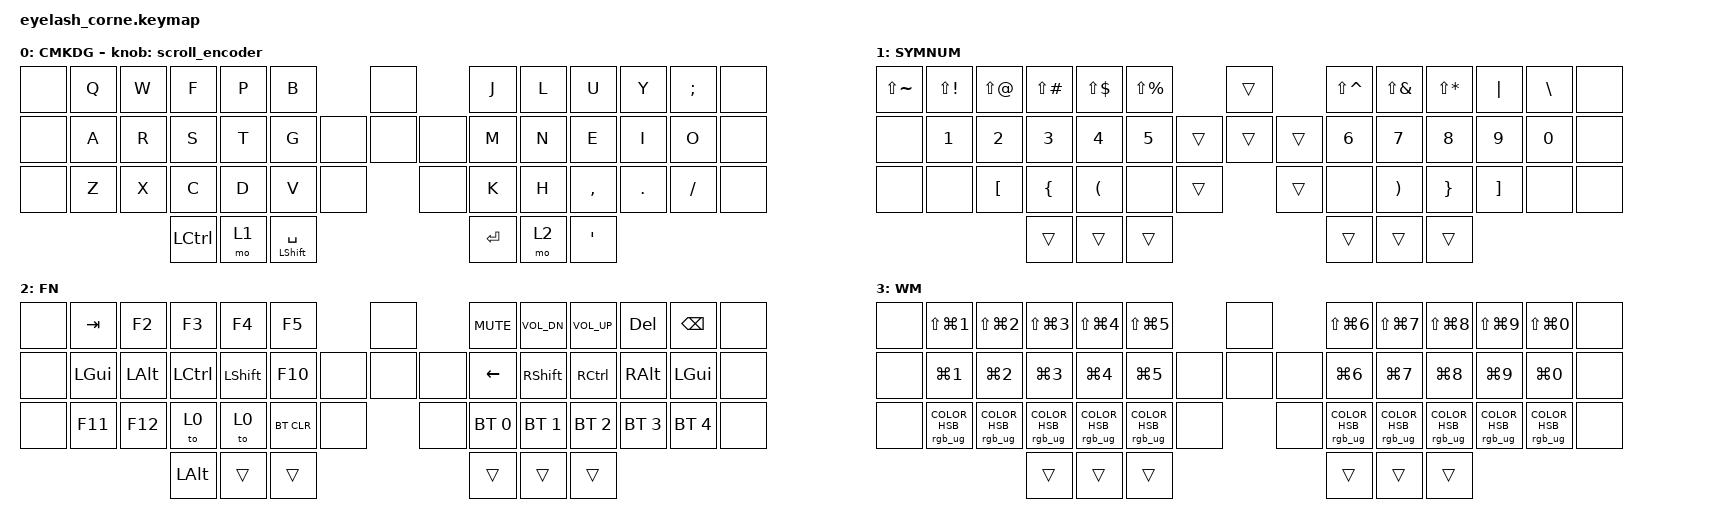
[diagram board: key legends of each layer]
#define ZMK_POINTING_DEFAULT_MOVE_VAL 1200  // 600
#define ZMK_POINTING_DEFAULT_SCRL_VAL 25   // 10

#include <input/processors.dtsi>
#include <zephyr/dt-bindings/input/input-event-codes.h>
#include <behaviors.dtsi>
#include <dt-bindings/zmk/bt.h>
#include <dt-bindings/zmk/keys.h>
#include <dt-bindings/zmk/pointing.h>
#include <dt-bindings/zmk/rgb.h>

&mmv_input_listener { input-processors = <&zip_xy_scaler 2 1>; };

&msc_input_listener { input-processors = <&zip_scroll_scaler 2 1>; };

&mmv {
    time-to-max-speed-ms = <500>;
    acceleration-exponent = <1>;
    trigger-period-ms = <16>;
};

&mt {
    tapping-term-ms = <180>;
    quick-tap-ms = <180>;
    require-prior-idle-ms = <150>;
    flavor = "tap-preferred";
    hold-trigger-key-positions = <14 15 16 17 23 24 25 26>;
    hold-trigger-on-release;
};

/ {
    behaviors {
        td0: td0 {
            compatible = "zmk,behavior-tap-dance";
            display-name = "Shift/Caps Lock Tap Dance";
            #binding-cells = <0>;
            bindings = <&kp LEFT_SHIFT>, <&kp CAPS>;
        };

        mouse_click: mouse_click {
            compatible = "zmk,behavior-hold-tap";
            label = "MOUSE_CLICK";
            #binding-cells = <2>;
            tapping-term-ms = <500>;
            flavor = "balanced";
            hold-trigger-key-positions = <20>;
            hold-trigger-on-release;
            bindings = <&mkp>, <&mkp>;
        };

        mod_kp: mod_kp {
            compatible = "zmk,behavior-hold-tap";
            label = "MOD_KP";
            bindings = <&mo>, <&kp>;

            #binding-cells = <2>;
            tapping-term-ms = <130>;
            flavor = "hold-preferred";
            quick-tap-ms = <130>;
            hold-trigger-key-positions = <42 44 45 47 43 46>;
        };

        to_kp: to_kp {
            compatible = "zmk,behavior-hold-tap";
            label = "TO_KP";
            bindings = <&to>, <&kp>;

            #binding-cells = <2>;
            tapping-term-ms = <500>;
            flavor = "tap-preferred";
        };

        hml: home_row_mod_left {
            compatible = "zmk,behavior-hold-tap";
            #binding-cells = <2>;
            flavor = "balanced";
            require-prior-idle-ms = <150>;
            tapping-term-ms = <200>;
            quick-tap-ms = <175>;
            bindings = <&kp>, <&kp>;

            hold-trigger-key-positions = <22 23 24 25 26 7 8 9 10 11 36 37 38 39 40 12 27 41 36 45 46 47>; // List of keys on the right side of the keyboard
            hold-trigger-on-release;
        };

        kpr: home_row_mod_right {
            compatible = "zmk,behavior-hold-tap";
            #binding-cells = <2>;
            flavor = "balanced";
            require-prior-idle-ms = <150>;
            tapping-term-ms = <200>;
            quick-tap-ms = <175>;
            bindings = <&kp>, <&kp>;

            hold-trigger-key-positions = <2 3 4 5 15 16 17 18 30 31 32 33 1 14 29 0 13 28 42 43 44>; // List of keys on the left side of the keyboard
            hold-trigger-on-release;
        };

        mt_pinky: mt_pinky {
            compatible = "zmk,behavior-hold-tap";
            label = "MT_PINKY";
            bindings = <&kp>, <&kp>;

            #binding-cells = <2>;
            tapping-term-ms = <200>;
            quick-tap-ms = <180>;
            require-prior-idle-ms = <150>;
            flavor = "tap-preferred";
            hold-trigger-key-positions = <14 26>;
            hold-trigger-on-release;
        };

        spc_sht: spc_sht {
            compatible = "zmk,behavior-hold-tap";
            label = "SPC_SHT";
            bindings = <&kp>, <&kp>;

            #binding-cells = <2>;
            flavor = "tap-preferred";
            tapping-term-ms = <220>;
        };
    };

    rgb_encoder: rgb_encoder {
        compatible = "zmk,behavior-sensor-rotate";
        #sensor-binding-cells = <0>;
        bindings = <&rgb_ug RGB_BRI>, <&rgb_ug RGB_BRD>;
    };

    scroll_encoder: scroll_encoder {
        compatible = "zmk,behavior-sensor-rotate";
        #sensor-binding-cells = <0>;
        bindings = <&msc SCRL_DOWN>, <&msc SCRL_UP>;

        tap-ms = <100>;
    };

    keymap {
        compatible = "zmk,keymap";

        default_layer {
            display-name = "CMKDG";
            bindings = <
&none  &kp Q  &kp W  &kp F      &kp P  &kp B                                  &none         &kp J      &kp L  &kp U      &kp Y    &kp SEMI   &none
&none  &kp A  &kp R  &kp S      &kp T  &kp G                           &none  &none  &none  &kp M      &kp N  &kp E      &kp I    &kp O      &none
&none  &kp Z  &kp X  &kp C      &kp D  &kp V                  &none           &none         &kp K      &kp H  &kp COMMA  &kp DOT  &kp SLASH  &none
                     &kp LCTRL  &mo 1  &spc_sht LSHIFT SPACE                                &kp ENTER  &mo 2  &kp SQT
            >;

            sensor-bindings = <&scroll_encoder>;
        };

        layer_1 {
            display-name = "SYMNUM";
            bindings = <
&kp LS(TILDE)  &kp LS(EXCL)  &kp LS(AT)    &kp LS(POUND)  &kp LS(DLLR)  &kp LS(PRCNT)                    &trans          &kp LS(CARET)  &kp LS(AMPS)  &kp LS(STAR)  &kp PIPE      &kp BSLH      &none
&none          &kp NUMBER_1  &kp NUMBER_2  &kp NUMBER_3   &kp NUMBER_4  &kp NUMBER_5             &trans  &trans  &trans  &kp NUMBER_6   &kp NUMBER_7  &kp NUMBER_8  &kp NUMBER_9  &kp NUMBER_0  &none
&none          &none         &kp LBKT      &kp LBRC       &kp LPAR      &none          &trans            &trans          &none          &kp RPAR      &kp RBRC      &kp RBKT      &none         &none
                                           &trans         &trans        &trans                                           &trans         &trans        &trans
            >;
        };

        layer_2 {
            display-name = "FN";
            bindings = <
&none  &kp TAB   &kp F2    &kp F3     &kp F4      &kp F5                      &none         &kp C_MUTE    &kp C_VOL_DN  &kp C_VOL_UP  &kp DEL       &kp BSPC      &none
&none  &kp LGUI  &kp LALT  &kp LCTRL  &kp LSHIFT  &kp F10              &none  &none  &none  &kp LEFT      &kp RSHIFT    &kp RCTRL     &kp RALT      &kp LGUI      &none
&none  &kp F11   &kp F12   &to 0      &to 0       &bt BT_CLR  &none           &none         &bt BT_SEL 0  &bt BT_SEL 1  &bt BT_SEL 2  &bt BT_SEL 3  &bt BT_SEL 4  &none
                           &kp LALT   &trans      &trans                                    &trans        &trans        &trans
            >;
        };

        layer_3 {
            display-name = "WM";
            bindings = <
&none  &kp LS(LG(N1))                    &kp LS(LG(N2))                     &kp LS(LG(N3))                     &kp LS(LG(N4))                     &kp LS(LG(N5))                                     &none         &kp LS(LG(N6))                   &kp LS(LG(N7))                   &kp LS(LG(N8))                    &kp LS(LG(N9))                     &kp LS(LG(N0))                     &none
&none  &kp LG(N1)                        &kp LG(N2)                         &kp LG(N3)                         &kp LG(N4)                         &kp LG(N5)                                  &none  &none  &none  &kp LG(N6)                       &kp LG(N7)                       &kp LG(N8)                        &kp LG(N9)                         &kp LG(N0)                         &none
&none  &rgb_ug RGB_COLOR_HSB(15,100,50)  &rgb_ug RGB_COLOR_HSB(145,100,50)  &rgb_ug RGB_COLOR_HSB(301,100,50)  &rgb_ug RGB_COLOR_HSB(280,100,50)  &rgb_ug RGB_COLOR_HSB(238,100,50)  &none           &none         &rgb_ug RGB_COLOR_HSB(0,100,50)  &rgb_ug RGB_COLOR_HSB(35,99,49)  &rgb_ug RGB_COLOR_HSB(65,100,50)  &rgb_ug RGB_COLOR_HSB(136,100,50)  &rgb_ug RGB_COLOR_HSB(170,100,50)  &none
                                                                            &trans                             &trans                             &trans                                                           &trans                           &trans                           &trans
            >;
        };
    };

    conditional_layers {
        compatible = "zmk,conditional-layers";

        MOUSENUMPAD {
            if-layers = <1 2>;
            then-layer = <3>;
        };
    };
};
